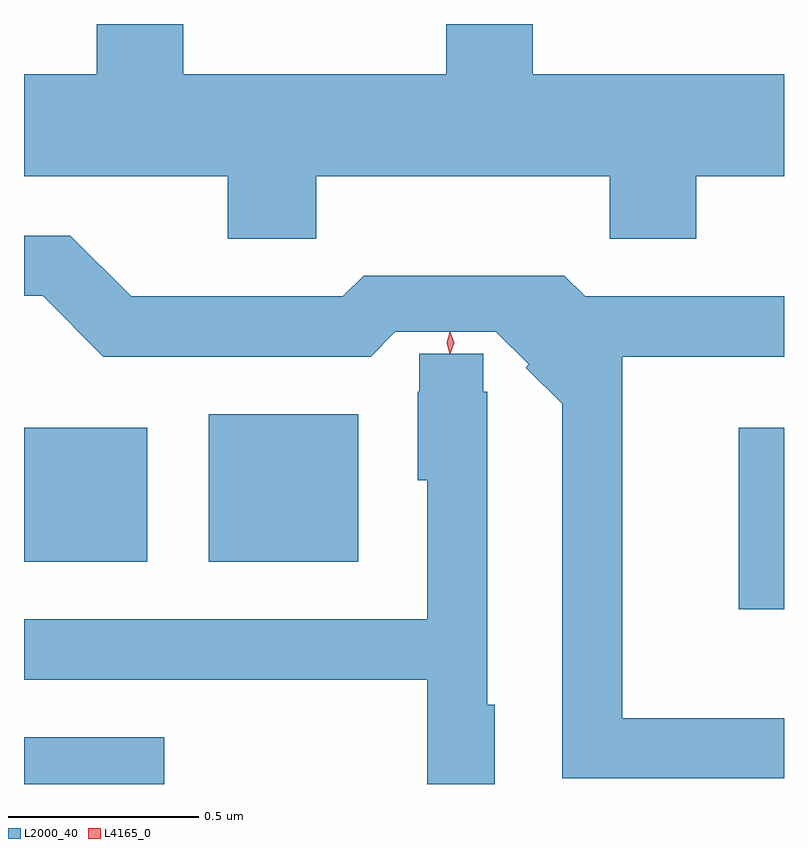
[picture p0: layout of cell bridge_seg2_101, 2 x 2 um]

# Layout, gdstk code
import gdstk
lib = gdstk.Library(unit=1e-6, precision=1e-09)
def R(c, l, rs):  # rectangles x0, y0, x1, y1
    for r in rs: c.add(gdstk.rectangle(r[:2], r[2:], *l))
def P(c, l, *ps):  # polygons
    for p in ps: c.add(gdstk.Polygon(p, *l))
L2000_40 = (2000, 40)
L4165_0 = (4165, 0)

bridge_seg2_101 = lib.new_cell('bridge_seg2_101')
R(bridge_seg2_101, L2000_40, [(1239.96,997.876,1240.329,997.999), (1241.841,998.336,1241.96,998.814), (1239.96,998.461,1240.284,998.814), (1240.446,998.461,1240.839,998.849)])
P(bridge_seg2_101, L2000_40, [(1240.729,999.476),(1241.501,999.476),(1241.501,999.311),(1241.729,999.311),(1241.729,999.476),(1241.96,999.476),(1241.96,999.744),(1241.299,999.744),(1241.299,999.876),(1241.071,999.876),(1241.071,999.744),(1240.379,999.744),(1240.379,999.876),(1240.151,999.876),(1240.151,999.744),(1239.96,999.744),(1239.96,999.476),(1240.496,999.476),(1240.496,999.311),(1240.729,999.311)],
  [(1241.96,998.049),(1241.534,998.049),(1241.534,999.001),(1241.96,999.001),(1241.96,999.159),(1241.437,999.159),(1241.382,999.214),(1240.854,999.214),(1240.799,999.159),(1240.242,999.159),(1240.082,999.319),(1239.96,999.319),(1239.96,999.161),(1240.009,999.161),(1240.169,999.001),(1240.872,999.001),(1240.937,999.066),(1241.202,999.066),(1241.288,998.98),(1241.281,998.972),(1241.376,998.877),(1241.376,997.891),(1241.96,997.891)],
  [(1241.199,998.084),(1241.179,998.084),(1241.179,998.908),(1241.168,998.908),(1241.168,999.008),(1241,999.008),(1241,998.908),(1240.996,998.908),(1240.996,998.676),(1241.021,998.676),(1241.021,998.309),(1239.96,998.309),(1239.96,998.151),(1241.021,998.151),(1241.021,997.876),(1241.199,997.876)])
P(bridge_seg2_101, L4165_0, [(1241.081,999.008),(1241.072,999.037),(1241.081,999.065),(1241.081,999.066),(1241.082,999.065),(1241.092,999.037),(1241.082,999.008),(1241.082,999.008)],
  [(1241.081,999.011),(1241.072,999.037),(1241.081,999.063),(1241.081,999.063),(1241.082,999.063),(1241.092,999.037),(1241.082,999.011),(1241.082,999.011)])

lib.write_gds('bridge_seg2_101.gds')
